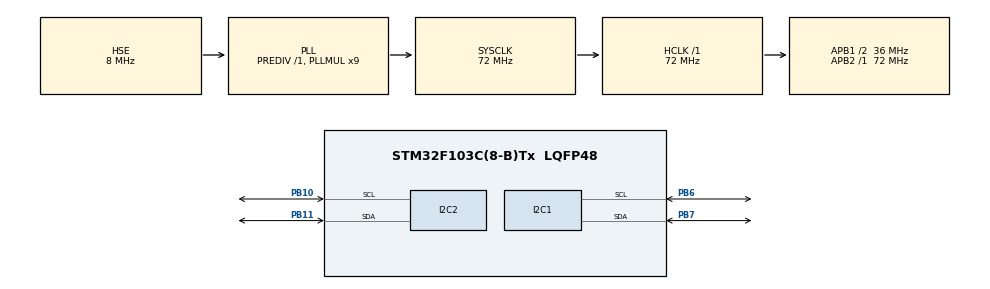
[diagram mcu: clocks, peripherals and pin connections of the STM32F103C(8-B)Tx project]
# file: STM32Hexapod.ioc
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I2C1.I2C_Mode=I2C_Standard
Mcu.Family=STM32F1
Mcu.Name=STM32F103C(8-B)Tx
Mcu.Package=LQFP48
NVIC.PriorityGroup=NVIC_PRIORITYGROUP_4
PA13.Mode=Serial_Wire
PA13.Signal=SYS_JTMS-SWDIO
PA14.Mode=Serial_Wire
PA14.Signal=SYS_JTCK-SWCLK
PB10.Mode=I2C
PB10.Signal=I2C2_SCL
PB11.Mode=I2C
PB11.Signal=I2C2_SDA
PB6.Mode=I2C
PB6.Signal=I2C1_SCL
PB7.Mode=I2C
PB7.Signal=I2C1_SDA
PD0-OSC_IN.Mode=HSE-External-Oscillator
PD0-OSC_IN.Signal=RCC_OSC_IN
PD1-OSC_OUT.Mode=HSE-External-Oscillator
PD1-OSC_OUT.Signal=RCC_OSC_OUT
ProjectManager.HeapSize=0x200
ProjectManager.StackSize=0x400
ProjectManager.TargetToolchain=CMake
RCC.AHBFreq_Value=72000000
RCC.APB1CLKDivider=RCC_HCLK_DIV2
RCC.APB1Freq_Value=36000000
RCC.APB1TimFreq_Value=72000000
RCC.APB2Freq_Value=72000000
RCC.APB2TimFreq_Value=72000000
RCC.HCLKFreq_Value=72000000
RCC.PLLMUL=RCC_PLL_MUL9
RCC.PLLSourceVirtual=RCC_PLLSOURCE_HSE
RCC.SYSCLKFreq_VALUE=72000000
RCC.SYSCLKSource=RCC_SYSCLKSOURCE_PLLCLK
RCC.USBFreq_Value=72000000
board=custom

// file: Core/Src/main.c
/* USER CODE BEGIN Header */
/**
  ******************************************************************************
  * @file           : main.c
  * @brief          : Main program body
  ******************************************************************************
  * @attention
  *
  * Copyright (c) 2026 STMicroelectronics.
  * All rights reserved.
  *
  * This software is licensed under terms that can be found in the LICENSE file
  * in the root directory of this software component.
  * If no LICENSE file comes with this software, it is provided AS-IS.
  *
  ******************************************************************************
  */
/* USER CODE END Header */
#include "main.h"

/* USER CODE BEGIN Includes */
#include "pca9685.h"
#include "gait.h"      /* Gait_Init / Gait_WalkSteps */
/* USER CODE END Includes */

I2C_HandleTypeDef hi2c1;
I2C_HandleTypeDef hi2c2;

void SystemClock_Config(void);
static void MX_GPIO_Init(void);
static void MX_I2C1_Init(void);
static void MX_I2C2_Init(void);

int main(void)
{

  /* MCU Configuration--------------------------------------------------------*/

  /* Reset of all peripherals, Initializes the Flash interface and the Systick. */
  HAL_Init();

  /* Configure the system clock */
  SystemClock_Config();

  /* Initialize all configured peripherals */
  MX_GPIO_Init();
  MX_I2C1_Init();
  MX_I2C2_Init();
  /* USER CODE BEGIN 2 */
  PCA9685_Init(&hi2c1, &hi2c2);   // 初始化两块 PCA9685

  /* 让 18 个舵机依次转到 90° */
  for (int ch = 0; ch < 18; ch++)
  {
    PCA9685_Set_Servo_Angle(ch, 90);
    HAL_Delay(300);
  }

  /* 上面 90° = 《舵机接线与安装手册》§7 的装配中位，先确认 18 个摇臂姿态正确，
   * 再让六条腿落到按实测腿长（L1=22.3 / L2=57.9 / L3=110）算出的 home 姿态。
   * 想只验证中位、不要 home 姿态时，把下面这行注释掉即可。 */
  HAL_Delay(500);
  Gait_Init();

  /* USER CODE END 2 */

  /* Infinite loop */
  /* USER CODE BEGIN WHILE */
  while (0)
  {
    /* USER CODE END WHILE */

    /* USER CODE BEGIN 3 */
    /* 让 11 个舵机转至 180° */
    for (int i = 0; i <= 180; i+=5)
    {
      for (int ch = 0; ch < 11; ch++)
      {
        PCA9685_Set_Servo_Angle(ch, i);
        HAL_Delay(15);
      }
    }
    /* 让 11 个舵机转至 0° */
    for (int i = 180; i >= 0; i-=5)
    {
      for (int ch = 0; ch < 11; ch++)
      {
        PCA9685_Set_Servo_Angle(ch, i);
        HAL_Delay(15);
      }
    }
  }
  /* USER CODE END 3 */
}

void SystemClock_Config(void)
{
  RCC_OscInitTypeDef RCC_OscInitStruct = {0};
  RCC_ClkInitTypeDef RCC_ClkInitStruct = {0};

  /** Initializes the RCC Oscillators according to the specified parameters
  * in the RCC_OscInitTypeDef structure.
  */
  RCC_OscInitStruct.OscillatorType = RCC_OSCILLATORTYPE_HSE;
  RCC_OscInitStruct.HSEState = RCC_HSE_ON;
  RCC_OscInitStruct.HSEPredivValue = RCC_HSE_PREDIV_DIV1;
  RCC_OscInitStruct.HSIState = RCC_HSI_ON;
  RCC_OscInitStruct.PLL.PLLState = RCC_PLL_ON;
  RCC_OscInitStruct.PLL.PLLSource = RCC_PLLSOURCE_HSE;
  RCC_OscInitStruct.PLL.PLLMUL = RCC_PLL_MUL9;
  if (HAL_RCC_OscConfig(&RCC_OscInitStruct) != HAL_OK)
  {
    Error_Handler();
  }

  /** Initializes the CPU, AHB and APB buses clocks
  */
  RCC_ClkInitStruct.ClockType = RCC_CLOCKTYPE_HCLK|RCC_CLOCKTYPE_SYSCLK
                              |RCC_CLOCKTYPE_PCLK1|RCC_CLOCKTYPE_PCLK2;
  RCC_ClkInitStruct.SYSCLKSource = RCC_SYSCLKSOURCE_PLLCLK;
  RCC_ClkInitStruct.AHBCLKDivider = RCC_SYSCLK_DIV1;
  RCC_ClkInitStruct.APB1CLKDivider = RCC_HCLK_DIV2;
  RCC_ClkInitStruct.APB2CLKDivider = RCC_HCLK_DIV1;

  if (HAL_RCC_ClockConfig(&RCC_ClkInitStruct, FLASH_LATENCY_2) != HAL_OK)
  {
    Error_Handler();
  }
}

static void MX_I2C1_Init(void)
{

  hi2c1.Instance = I2C1;
  hi2c1.Init.ClockSpeed = 100000;
  hi2c1.Init.DutyCycle = I2C_DUTYCYCLE_2;
  hi2c1.Init.OwnAddress1 = 0;
  hi2c1.Init.AddressingMode = I2C_ADDRESSINGMODE_7BIT;
  hi2c1.Init.DualAddressMode = I2C_DUALADDRESS_DISABLE;
  hi2c1.Init.OwnAddress2 = 0;
  hi2c1.Init.GeneralCallMode = I2C_GENERALCALL_DISABLE;
  hi2c1.Init.NoStretchMode = I2C_NOSTRETCH_DISABLE;
  if (HAL_I2C_Init(&hi2c1) != HAL_OK)
  {
    Error_Handler();
  }

}

static void MX_I2C2_Init(void)
{

  hi2c2.Instance = I2C2;
  hi2c2.Init.ClockSpeed = 100000;
  hi2c2.Init.DutyCycle = I2C_DUTYCYCLE_2;
  hi2c2.Init.OwnAddress1 = 0;
  hi2c2.Init.AddressingMode = I2C_ADDRESSINGMODE_7BIT;
  hi2c2.Init.DualAddressMode = I2C_DUALADDRESS_DISABLE;
  hi2c2.Init.OwnAddress2 = 0;
  hi2c2.Init.GeneralCallMode = I2C_GENERALCALL_DISABLE;
  hi2c2.Init.NoStretchMode = I2C_NOSTRETCH_DISABLE;
  if (HAL_I2C_Init(&hi2c2) != HAL_OK)
  {
    Error_Handler();
  }

}

static void MX_GPIO_Init(void)
{

  /* GPIO Ports Clock Enable */
  __HAL_RCC_GPIOD_CLK_ENABLE();
  __HAL_RCC_GPIOB_CLK_ENABLE();
  __HAL_RCC_GPIOA_CLK_ENABLE();

}

void Error_Handler(void)
{
  __disable_irq();
  while (1)
  {
  }
}
